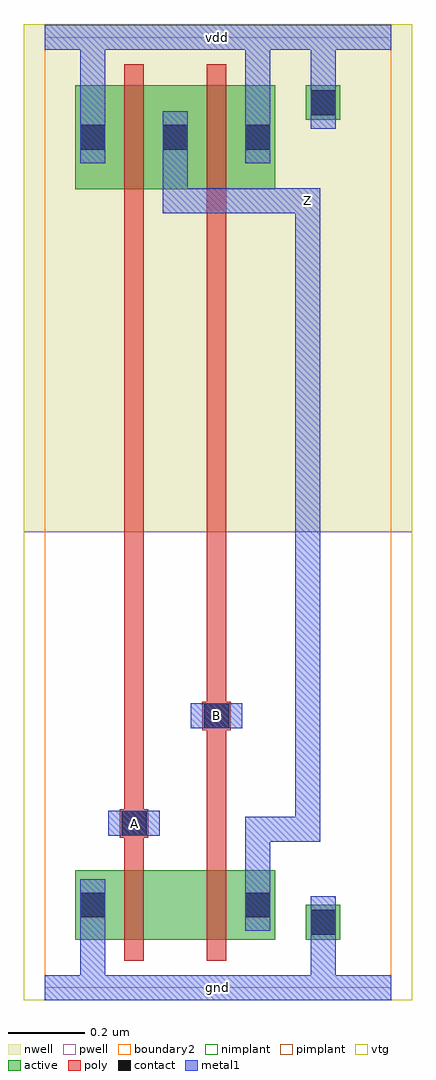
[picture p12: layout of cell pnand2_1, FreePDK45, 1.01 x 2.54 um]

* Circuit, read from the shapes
.subckt pnand2_1 A B Z gnd vdd
M1 nmos_m1_w0_180_sm1_dactive_2/D A gnd gnd nfet w=0.18u l=0.05u
M2 Z B nmos_m1_w0_180_sm1_dactive_2/D gnd nfet w=0.18u l=0.05u
M3 Z A vdd vdd pfet w=0.27u l=0.05u
M4 vdd B Z vdd pfet w=0.27u l=0.05u
.ends

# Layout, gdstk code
import gdstk
lib = gdstk.Library(unit=1e-6, precision=5e-10)
def R(c, l, rs):  # rectangles x0, y0, x1, y1
    for r in rs: c.add(gdstk.rectangle(r[:2], r[2:], *l))
active = (1, 0)
pwell = (2, 0)
nwell = (3, 0)
nimplant = (4, 0)
pimplant = (5, 0)
vtg = (6, 0)
poly = (9, 0)
contact = (10, 0)
metal1 = (11, 0)
boundary2 = (239, 0)

contact_10 = lib.new_cell('contact_10')
R(contact_10, active, [(0,0.0225,0.09,0.1125)])
R(contact_10, nwell, [(-0.055,-0.0325,0.145,0.1675)])
R(contact_10, pimplant, [(0,0.0225,0.09,0.1125)])
R(contact_10, contact, [(0.0125,0.035,0.0775,0.1)])
R(contact_10, metal1, [(0.0125,0,0.0775,0.135)])
R(contact_10, boundary2, [(-0.055,-0.0325,0.145,0.1675)])

pmos_m1_w0_270_sm1_dm1 = lib.new_cell('pmos_m1_w0_270_sm1_dm1')
R(pmos_m1_w0_270_sm1_dm1, active, [(0,0,0.305,0.27)])
R(pmos_m1_w0_270_sm1_dm1, nwell, [(-0.08,-0.08,0.385,0.35)])
R(pmos_m1_w0_270_sm1_dm1, pimplant, [(0,0,0.305,0.27)])
R(pmos_m1_w0_270_sm1_dm1, vtg, [(-0.08,-0.08,0.385,0.35)])
R(pmos_m1_w0_270_sm1_dm1, poly, [(0.1275,-0.055,0.1775,0.325), (0.1275,-0.055,0.1775,0.325)])
R(pmos_m1_w0_270_sm1_dm1, metal1, [(0.0125,0.0675,0.0775,0.2025), (0.2275,0.0675,0.2925,0.2025)])
R(pmos_m1_w0_270_sm1_dm1, boundary2, [(-0.08,-0.08,0.385,0.35)])
pmos_m1_w0_270_sm1_dm1.add(gdstk.Reference(contact_10, (0,0.0675)))
pmos_m1_w0_270_sm1_dm1.add(gdstk.Reference(contact_10, (0.215,0.0675)))
pmos_m1_w0_270_sm1_dm1.add(gdstk.Label('S', (0.045,0.135), layer=11, texttype=0))
pmos_m1_w0_270_sm1_dm1.add(gdstk.Label('D', (0.26,0.135), layer=11, texttype=0))
pmos_m1_w0_270_sm1_dm1.add(gdstk.Label('G', (0.1525,0.135), layer=9, texttype=0))

contact_9 = lib.new_cell('contact_9')
R(contact_9, active, [(0,0.0225,0.09,0.1125)])
R(contact_9, pwell, [(-0.055,-0.0325,0.145,0.1675)])
R(contact_9, nimplant, [(0,0.0225,0.09,0.1125)])
R(contact_9, contact, [(0.0125,0.035,0.0775,0.1)])
R(contact_9, metal1, [(0.0125,0,0.0775,0.135)])
R(contact_9, boundary2, [(-0.055,-0.0325,0.145,0.1675)])

nmos_m1_w0_180_sm1_dacti = lib.new_cell('nmos_m1_w0_180_sm1_dactive')
R(nmos_m1_w0_180_sm1_dacti, active, [(0,0,0.305,0.18), (0.215,0.045,0.305,0.135)])
R(nmos_m1_w0_180_sm1_dacti, pwell, [(-0.08,-0.08,0.385,0.26)])
R(nmos_m1_w0_180_sm1_dacti, nimplant, [(0,0,0.305,0.18)])
R(nmos_m1_w0_180_sm1_dacti, vtg, [(-0.08,-0.08,0.385,0.26)])
R(nmos_m1_w0_180_sm1_dacti, poly, [(0.1275,-0.055,0.1775,0.235), (0.1275,-0.055,0.1775,0.235)])
R(nmos_m1_w0_180_sm1_dacti, metal1, [(0.0125,0.0225,0.0775,0.1575)])
R(nmos_m1_w0_180_sm1_dacti, boundary2, [(-0.08,-0.08,0.385,0.26)])
nmos_m1_w0_180_sm1_dacti.add(gdstk.Reference(contact_9, (0,0.0225)))
nmos_m1_w0_180_sm1_dacti.add(gdstk.Label('S', (0.045,0.09), layer=11, texttype=0))
nmos_m1_w0_180_sm1_dacti.add(gdstk.Label('D', (0.26,0.09), layer=1, texttype=0))
nmos_m1_w0_180_sm1_dacti.add(gdstk.Label('G', (0.1525,0.09), layer=9, texttype=0))

nmos_m1_w0_180_sactive_d = lib.new_cell('nmos_m1_w0_180_sactive_dm1')
R(nmos_m1_w0_180_sactive_d, active, [(0,0,0.305,0.18), (0,0.045,0.09,0.135)])
R(nmos_m1_w0_180_sactive_d, pwell, [(-0.08,-0.08,0.385,0.26)])
R(nmos_m1_w0_180_sactive_d, nimplant, [(0,0,0.305,0.18)])
R(nmos_m1_w0_180_sactive_d, vtg, [(-0.08,-0.08,0.385,0.26)])
R(nmos_m1_w0_180_sactive_d, poly, [(0.1275,-0.055,0.1775,0.235), (0.1275,-0.055,0.1775,0.235)])
R(nmos_m1_w0_180_sactive_d, metal1, [(0.2275,0.0225,0.2925,0.1575)])
R(nmos_m1_w0_180_sactive_d, boundary2, [(-0.08,-0.08,0.385,0.26)])
nmos_m1_w0_180_sactive_d.add(gdstk.Reference(contact_9, (0.215,0.0225)))
nmos_m1_w0_180_sactive_d.add(gdstk.Label('D', (0.26,0.09), layer=11, texttype=0))
nmos_m1_w0_180_sactive_d.add(gdstk.Label('S', (0.045,0.09), layer=1, texttype=0))
nmos_m1_w0_180_sactive_d.add(gdstk.Label('G', (0.1525,0.09), layer=9, texttype=0))

contact_11 = lib.new_cell('contact_11')
R(contact_11, active, [(0,0.0225,0.09,0.1125)])
R(contact_11, nwell, [(-0.055,-0.0325,0.145,0.1675)])
R(contact_11, nimplant, [(0,0.0225,0.09,0.1125)])
R(contact_11, contact, [(0.0125,0.035,0.0775,0.1)])
R(contact_11, metal1, [(0.0125,0,0.0775,0.135)])
R(contact_11, boundary2, [(-0.055,-0.0325,0.145,0.1675)])

contact_12 = lib.new_cell('contact_12')
R(contact_12, active, [(0,0.0225,0.09,0.1125)])
R(contact_12, pwell, [(-0.055,-0.0325,0.145,0.1675)])
R(contact_12, pimplant, [(0,0.0225,0.09,0.1125)])
R(contact_12, contact, [(0.0125,0.035,0.0775,0.1)])
R(contact_12, metal1, [(0.0125,0,0.0775,0.135)])
R(contact_12, boundary2, [(-0.055,-0.0325,0.145,0.1675)])

contact_13 = lib.new_cell('contact_13')
R(contact_13, poly, [(0.03,0,0.105,0.075)])
R(contact_13, contact, [(0.035,0.005,0.1,0.07)])
R(contact_13, metal1, [(0,0.005,0.135,0.07)])
R(contact_13, boundary2, [(0,0,0.135,0.075)])

pnand2_1 = lib.new_cell('pnand2_1')
R(pnand2_1, pwell, [(-0.055,-0.0325,0.9575,1.1875)])
R(pnand2_1, nwell, [(-0.055,1.1875,0.9575,2.51)])
R(pnand2_1, vtg, [(-0.055,-0.0325,0.9575,1.1875), (-0.055,1.1875,0.9575,2.51)])
R(pnand2_1, poly, [(0.2075,0.36,0.2575,2.025), (0.4225,0.36,0.4725,2.025), (0.2075,0.39,0.2325,0.465), (0.4225,0.67,0.4475,0.745)])
R(pnand2_1, metal1, [(0,-0.0325,0.9025,0.0325), (0.0925,-0.0325,0.1575,0.1475), (0.6925,0,0.7575,0.17), (0.5225,0.2825,0.5875,0.4125), (0.5225,0.38,0.5875,0.445), (0.555,0.38,0.685,0.445), (0.6525,0.38,0.7175,0.445), (0.165,0.395,0.3,0.46), (0.6525,0.4125,0.7175,2.05), (0.38,0.675,0.515,0.74), (0.3075,2.0175,0.3725,2.0825), (0.34,2.0175,0.685,2.0825), (0.6525,2.0175,0.7175,2.0825), (0.3075,2.05,0.3725,2.1475), (0.0925,2.1475,0.1575,2.5075), (0.5225,2.1475,0.5875,2.5075), (0.6925,2.305,0.7575,2.475), (0,2.4425,0.9025,2.5075)])
R(pnand2_1, boundary2, [(0,0,0.9025,2.475), (0,0,0.9025,2.475)])
pnand2_1.add(gdstk.Reference(pmos_m1_w0_270_sm1_dm1, (0.08,2.08)))
pnand2_1.add(gdstk.Reference(pmos_m1_w0_270_sm1_dm1, (0.295,2.08)))
pnand2_1.add(gdstk.Reference(nmos_m1_w0_180_sm1_dacti, (0.08,0.125)))
pnand2_1.add(gdstk.Reference(nmos_m1_w0_180_sactive_d, (0.295,0.125)))
pnand2_1.add(gdstk.Reference(contact_11, (0.68,2.2375)))
pnand2_1.add(gdstk.Reference(contact_12, (0.68,0.1025)))
pnand2_1.add(gdstk.Reference(contact_13, (0.165,0.39)))
pnand2_1.add(gdstk.Reference(contact_13, (0.38,0.67)))
pnand2_1.add(gdstk.Label('Z', (0.685,2.05), layer=11, texttype=0))
pnand2_1.add(gdstk.Label('gnd', (0.451,0), layer=11, texttype=0))
pnand2_1.add(gdstk.Label('vdd', (0.451,2.475), layer=11, texttype=0))
pnand2_1.add(gdstk.Label('A', (0.2325,0.4275), layer=11, texttype=0))
pnand2_1.add(gdstk.Label('B', (0.4475,0.7075), layer=11, texttype=0))

lib.write_gds('pnand2_1.gds')
